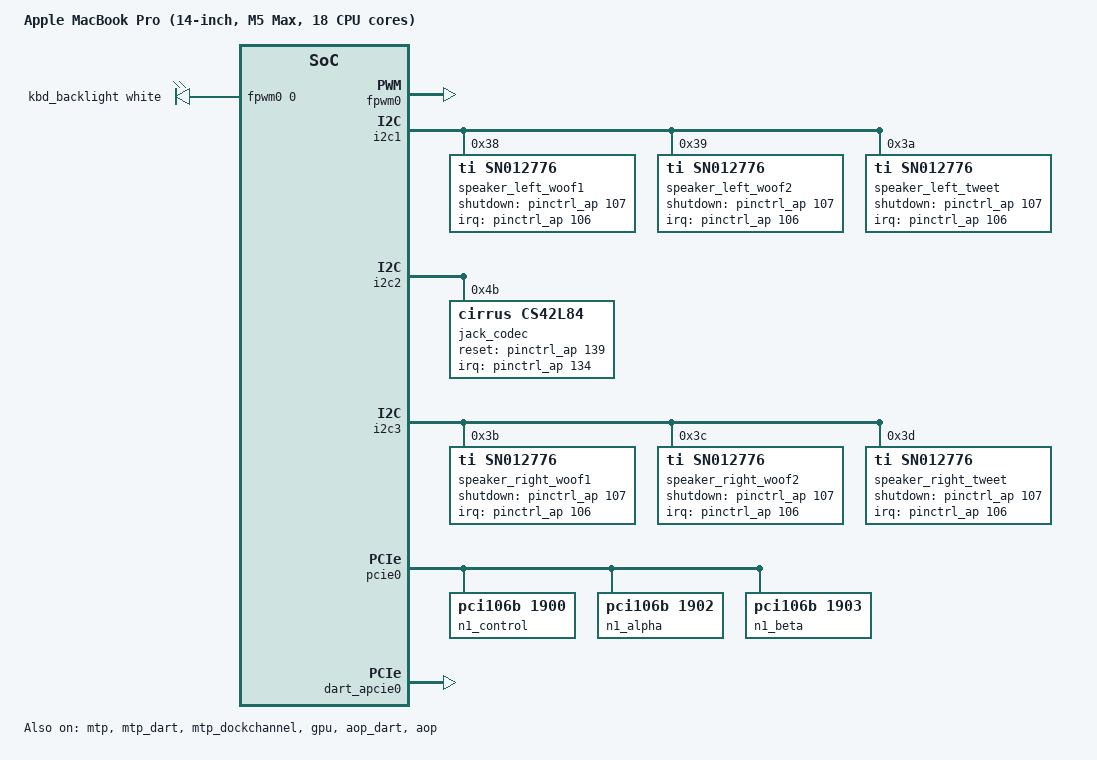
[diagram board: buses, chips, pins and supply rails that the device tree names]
// SPDX-License-Identifier: GPL-2.0+ OR MIT
/*
 * Apple MacBook Pro (14-inch, M5 Max, 18 CPU cores)
 *
 * target-type: J714c
 *
 * Initial RAM boot resources measured on J714c/T6050.
 * The loader supplies usable memory, CPU release addresses and
 * framebuffer geometry. Peripheral power domains come from
 * t6050-pmgr.dtsi; the framebuffer holds the display domain.
 *
 * The loader's command line MUST include maxcpus=1 for the first boot:
 * spin-table bring-up of the secondaries is blocked by the T6050
 * firmware-parking problem under investigation (dumps/HANDOFF.md),
 * and arm64 spin-table waits unboundedly for each CPU to check in.
 *
 * Copyright The Asahi Linux Contributors
 */

/dts-v1/;

#include <dt-bindings/gpio/gpio.h>
#include <dt-bindings/interrupt-controller/apple-aic.h>
#include <dt-bindings/interrupt-controller/irq.h>
#include <dt-bindings/leds/common.h>

#include "t6050.dtsi"
#include "t6050-smc.dtsi"

/ {
	compatible = "apple,j714c", "apple,t6050", "apple,arm-platform";
	model = "Apple MacBook Pro (14-inch, M5 Max, 18 CPU cores)";

	#address-cells = <2>;
	#size-cells = <2>;
	interrupt-parent = <&aic>;

	aliases {
		gpu = &gpu;
		keyboard = &keyboard;
		serial0 = &serial0;
		/* kboot fills the N1's factory addresses from /chosen through these */
		wifi0 = &n1_alpha;
		bluetooth0 = &n1_beta;
	};

	chosen {
		#address-cells = <2>;
		#size-cells = <2>;
		ranges;

		stdout-path = "serial0:1500000n8";

		framebuffer0: framebuffer@0 {
			compatible = "apple,simple-framebuffer", "simple-framebuffer";
			reg = <0 0 0 0>; /* Filled by the loader. */
			status = "okay"; /* m1n1 only enables it on chips it knows. */
			power-domains = <&ps_disp_cpu>;
			apple,internal-panel; /* simpledrm reports it as eDP */
		};
	};

	memory@10000000000 {
		device_type = "memory";
		reg = <0x100 0 0 0>; /* Filled by the loader. */
	};

	led-controller {
		compatible = "pwm-leds";
		led-0 {
			pwms = <&fpwm0 0 40000>;
			label = "kbd_backlight";
			function = LED_FUNCTION_KBD_BACKLIGHT;
			color = <LED_COLOR_ID_WHITE>;
			max-brightness = <255>;
			default-state = "keep";
		};
	};
};

&fpwm0 {
	status = "okay";
};

&mtp {
	status = "okay";
};

&mtp_mbox {
	status = "okay";
};

&mtp_dart {
	status = "okay";
};

&mtp_dockchannel {
	status = "okay";
};

&mtp_hid {
	mtp_mt: multi-touch {
		firmware-name = "apple/tpmtfw-j714c.bin";
		apple,power-method = <2>;
		apple,firmware-managed-reset;
	};

	keyboard: keyboard {
		hid-country-code = <0>;
		apple,keyboard-layout-id = <0>;
	};

	stm {
	};

	actuator {
	};

	tp_accel {
	};
};
#include "t6050-j714c-usb2.dtsi"

/* Enable the GPU and its mailboxes; the loader disables them again if the ADT
 * perf/region data does not validate (dt_set_gpu_g17). */
&gfx_mbox {
	status = "okay";
};

&gfx1_mbox {
	status = "okay";
};

&gpu {
	status = "okay";
};

#include "hwmon-common.dtsi"
#include "hwmon-fan-dual.dtsi"
#include "hwmon-laptop.dtsi"

/*
 * The T6050 SMC spells the fan mode keys F0md/F1md; F0Md/F1Md from
 * hwmon-fan*.dtsi do not exist (as on J714s in omarchy-m5).
 */
&smc_hwmon {
	fan-F0Ac {
		apple,fan-mode = "F0md";
	};

	fan-F1Ac {
		apple,fan-mode = "F1md";
	};
};

/*
 * Audio: the amplifiers and the jack codec on I2C; the I2S side is the
 * AOP's (below).
 *
 * ADT /arm-io/i2c1: audio-speaker 0x38 (the primary amp, holds
 * speaker-config), audio-speaker-left-woofer-2 0x39, audio-speaker-left-
 * tweeter 0x3a. /arm-io/i2c3: audio-speaker-right-woofer-1 0x3b,
 * audio-speaker-right-woofer-2 0x3c, audio-speaker-right-tweeter 0x3d. All
 * six are sn012776. /arm-io/i2c2: audio-codec-output 0x4b, cs42l84, the
 * headphone jack.
 *
 * Lines, all on gpio0 (pinctrl_ap): amps share shutdown GPIO 107
 * (function-reset GPIO(0x6b)) and interrupt 106; codec reset GPIO 139
 * (function-reset GPIO(0x8b)), interrupt 134. Speaker-id GPIOs 136/137 are
 * unused. Polarities follow the in-tree J516 and the J716s reference:
 * active-high shutdown and reset, level-low interrupts; the ADT flag words
 * (0x10001 amps, 0x1 codec) are not decoded.
 *
 * Sense slots: speaker-config row n is the amp the ADT names speakerN
 * (audio-speaker, then speaker1..speaker5 = LW1 RW1 LW2 RW2 LT RT); amp n
 * carries I in slot 4n and V in slot 4n+2, the tas2764/J516 convention
 * (the ADT labels the two the other way round).
 *
 * T6050 has no AP-side MCA: the I2S ports and their power domains belong
 * to the AOP firmware (ADT /arm-io/iop-audio-controller, AOPAudioService,
 * streams on admac-base-ns), and t8140_aop_audio's T6050 variant provides
 * the CPU DAIs for the sound node below, as on T8140. The amps leave
 * hardware shutdown only from the ASoC component probe, so the shared
 * shutdown line stays low until the card binds.
 */
&pinctrl_ap {
	status = "okay";
};

&i2c1 {
	status = "okay";

	speaker_left_woof1: codec@38 {
		compatible = "ti,sn012776", "ti,tas2764";
		reg = <0x38>;
		shutdown-gpios = <&pinctrl_ap 107 GPIO_ACTIVE_HIGH>;
		#sound-dai-cells = <0>;
		sound-name-prefix = "Left Woofer 1";
		interrupts-extended = <&pinctrl_ap 106 IRQ_TYPE_LEVEL_LOW>;
		ti,imon-slot-no = <0>;
		ti,vmon-slot-no = <2>;
	};

	speaker_left_woof2: codec@39 {
		compatible = "ti,sn012776", "ti,tas2764";
		reg = <0x39>;
		shutdown-gpios = <&pinctrl_ap 107 GPIO_ACTIVE_HIGH>;
		#sound-dai-cells = <0>;
		sound-name-prefix = "Left Woofer 2";
		interrupts-extended = <&pinctrl_ap 106 IRQ_TYPE_LEVEL_LOW>;
		ti,imon-slot-no = <8>;
		ti,vmon-slot-no = <10>;
	};

	speaker_left_tweet: codec@3a {
		compatible = "ti,sn012776", "ti,tas2764";
		reg = <0x3a>;
		shutdown-gpios = <&pinctrl_ap 107 GPIO_ACTIVE_HIGH>;
		#sound-dai-cells = <0>;
		sound-name-prefix = "Left Tweeter";
		interrupts-extended = <&pinctrl_ap 106 IRQ_TYPE_LEVEL_LOW>;
		ti,imon-slot-no = <16>;
		ti,vmon-slot-no = <18>;
	};
};

&i2c2 {
	status = "okay";

	jack_codec: codec@4b {
		compatible = "cirrus,cs42l84";
		reg = <0x4b>;
		reset-gpios = <&pinctrl_ap 139 GPIO_ACTIVE_HIGH>;
		#sound-dai-cells = <0>;
		interrupts-extended = <&pinctrl_ap 134 IRQ_TYPE_LEVEL_LOW>;
		sound-name-prefix = "Jack";
	};
};

&i2c3 {
	status = "okay";

	speaker_right_woof1: codec@3b {
		compatible = "ti,sn012776", "ti,tas2764";
		reg = <0x3b>;
		shutdown-gpios = <&pinctrl_ap 107 GPIO_ACTIVE_HIGH>;
		#sound-dai-cells = <0>;
		sound-name-prefix = "Right Woofer 1";
		interrupts-extended = <&pinctrl_ap 106 IRQ_TYPE_LEVEL_LOW>;
		ti,imon-slot-no = <4>;
		ti,vmon-slot-no = <6>;
	};

	speaker_right_woof2: codec@3c {
		compatible = "ti,sn012776", "ti,tas2764";
		reg = <0x3c>;
		shutdown-gpios = <&pinctrl_ap 107 GPIO_ACTIVE_HIGH>;
		#sound-dai-cells = <0>;
		sound-name-prefix = "Right Woofer 2";
		interrupts-extended = <&pinctrl_ap 106 IRQ_TYPE_LEVEL_LOW>;
		ti,imon-slot-no = <12>;
		ti,vmon-slot-no = <14>;
	};

	speaker_right_tweet: codec@3d {
		compatible = "ti,sn012776", "ti,tas2764";
		reg = <0x3d>;
		shutdown-gpios = <&pinctrl_ap 107 GPIO_ACTIVE_HIGH>;
		#sound-dai-cells = <0>;
		sound-name-prefix = "Right Tweeter";
		interrupts-extended = <&pinctrl_ap 106 IRQ_TYPE_LEVEL_LOW>;
		ti,imon-slot-no = <20>;
		ti,vmon-slot-no = <22>;
	};
};

/*
 * AOP: the co-processor, its mailbox, the base-ns ADMAC and the audio
 * streams. The sound card: the jack on the AOP's cout/cin streams, the six
 * amps on its spkr stream (ADT order, amp-tx-zd-config rows 0 and 1 as the
 * idle masks), speakers off by default in the j714 macaudio config.
 */
&aop_dart {
	status = "okay";
};

&aop_mbox {
	status = "okay";
};

&aop_setup_mbox {
	status = "okay";
};

&aop {
	status = "okay";
};

&aop_audio {
	apple,chassis-name = "J714";
	apple,machine-kind = "MacBook Pro";
};

&admac_base_ns {
	status = "okay";
};

&admac_leap_s {
	status = "okay";
};

/ {
	sound: sound {
		compatible = "apple,j714-macaudio", "apple,macaudio";
		model = "MacBook Pro J714";
		#address-cells = <1>;
		#size-cells = <0>;

		dai-link@0 {
			reg = <0>;
			link-name = "Headphone Jack";

			cpu {
				sound-dai = <&aop_audio 0>;
			};
			codec {
				sound-dai = <&jack_codec>;
			};
		};

		dai-link@1 {
			reg = <1>;
			link-name = "Speakers";
			dai-tdm-idle-mode-0 = "zero";
			dai-tdm-idle-mode-1 = "zero";
			dai-tdm-slot-tx-idle-mask-0 = <0xf0f0f0>;
			dai-tdm-slot-tx-idle-mask-1 = <0x0f0f0f>;

			cpu {
				sound-dai = <&aop_audio 4>;
			};
			codec {
				sound-dai = <&speaker_left_woof1>,
					    <&speaker_right_woof1>,
					    <&speaker_left_woof2>,
					    <&speaker_right_woof2>,
					    <&speaker_left_tweet>,
					    <&speaker_right_tweet>;
			};
		};
	};
};

/*
 * The N1 (Wi-Fi and Bluetooth) on apcie0 port 0, as aurora-silicon's t6050-j716c.dts names it;
 * the J714c has the same port, registers and pins (ADT 2026-11-05). iBoot leaves the port
 * untrained and the N1 off (SMC GPIO gP13 low, PERST# GPIO 80 low); the kernel trains it.
 * Platform id = (board-id 0x0a << 16) | 0x6050 by aurora's J716c rule; the FTAB comes from the
 * macOS install (not shipped by aurora).
 */
&pcie0 {
	reg = <0x1c 0xb0000000 0x0 0x10000000>,
	      <0x4 0x14000000 0x0 0x4000>,
	      <0x4 0x10028000 0x0 0x8000>,
	      <0x4 0x17010000 0x0 0x4000>,
	      <0x4 0x10024000 0x0 0x4000>,
	      <0x4 0x17020000 0x0 0x4000>,
	      <0x4 0x17004000 0x0 0x4000>;
	/* phy-shared: ADT reg[3]; phy-common: ADT reg[2] + 0x4000 */
	reg-names = "config", "rc", "port0", "phy0", "intr2axi0", "phy-shared", "phy-common";
	interrupts = <AIC_IRQ 1523 IRQ_TYPE_LEVEL_HIGH>;
	interrupt-names = "port0";

	/* The N1's three functions are on DART streams 1-3 */
	iommu-map = <0x100 &dart_apcie0 1 3>;
	bus-range = <0 4>;

	port00: pci@0,0 {
		device_type = "pci";
		reg = <0x0 0 0 0 0>;
		bus-range = <1 1>;
		apple,link-trained-by-bootloader;
		/* PERST#, for the kernel's train and the root-port reset after the N1's ROM stage */
		reset-gpios = <&pinctrl_ap 80 GPIO_ACTIVE_LOW>;
		/* The N1's power/reset: ADT function-reset = pKW4('gP13', ...), SMC GPIO pin 0x13 */
		pwren-gpios = <&smc_gpio 19 GPIO_ACTIVE_HIGH>;
		status = "okay";

		#address-cells = <3>;
		#size-cells = <2>;
		ranges;

		interrupt-controller;
		#interrupt-cells = <1>;
		interrupt-map-mask = <0 0 0 7>;
		interrupt-map = <0 0 0 1 &port00 0 0 0 0>,
				<0 0 0 2 &port00 0 0 0 1>,
				<0 0 0 3 &port00 0 0 0 2>,
				<0 0 0 4 &port00 0 0 0 3>;

		n1_control: control@0,0 {
			compatible = "pci106b,1900";
			reg = <0x10000 0x0 0x0 0x0 0x0>;
			firmware-name = "apple/centauri/j714c-ftab.bin";
			apple,centauri-platform-id = <0x000a6050>;
			apple,centauri-protocol = <27>;
		};

		n1_alpha: wifi@0,1 {
			compatible = "pci106b,1902";
			reg = <0x10100 0x0 0x0 0x0 0x0>;
			local-mac-address = [00 00 00 00 00 00];
		};

		n1_beta: bluetooth@0,2 {
			compatible = "pci106b,1903";
			reg = <0x10200 0x0 0x0 0x0 0x0>;
			local-bd-address = [00 00 00 00 00 00];
		};
	};
};

&dart_apcie0 {
	status = "okay";
};
